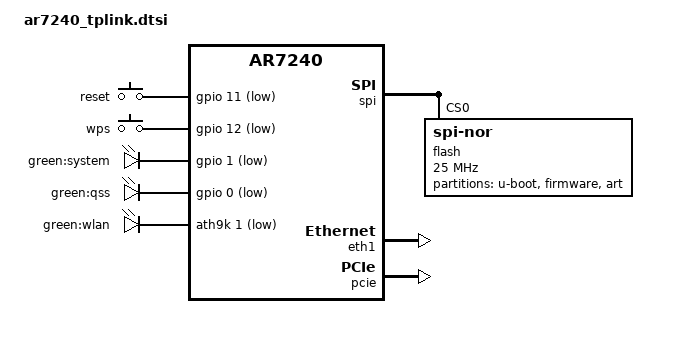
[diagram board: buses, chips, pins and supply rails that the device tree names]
// SPDX-License-Identifier: GPL-2.0-or-later OR MIT

#include "ar7240.dtsi"

#include <dt-bindings/gpio/gpio.h>
#include <dt-bindings/input/input.h>

/ {
	aliases {
		led-boot = &led_system;
		led-failsafe = &led_system;
		led-running = &led_system;
		led-upgrade = &led_system;
		label-mac-device = &ath9k;
	};

	keys {
		compatible = "gpio-keys";

		reset {
			label = "reset";
			linux,code = <KEY_RESTART>;
			gpios = <&gpio 11 GPIO_ACTIVE_LOW>;
			debounce-interval = <60>;
		};

		wps {
			label = "wps";
			linux,code = <KEY_WPS_BUTTON>;
			gpios = <&gpio 12 GPIO_ACTIVE_LOW>;
			debounce-interval = <60>;
		};
	};

	leds: leds {
		compatible = "gpio-leds";

		pinctrl-names = "default";
		pinctrl-0 = <&pinmux_switch_led_pins>;

		led_system: system {
			label = "green:system";
			gpios = <&gpio 1 GPIO_ACTIVE_LOW>;
		};

		qss {
			label = "green:qss";
			gpios = <&gpio 0 GPIO_ACTIVE_LOW>;
		};
	};

	ath9k-leds {
		compatible = "gpio-leds";

		wlan {
			label = "green:wlan";
			gpios = <&ath9k 1 GPIO_ACTIVE_LOW>;
			linux,default-trigger = "phy0tpt";
		};
	};
};

&spi {
	status = "okay";

	flash@0 {
		compatible = "jedec,spi-nor";
		reg = <0>;
		spi-max-frequency = <25000000>;

		partitions {
			compatible = "fixed-partitions";
			#address-cells = <1>;
			#size-cells = <1>;

			uboot: partition@0 {
				reg = <0x0 0x20000>;
				label = "u-boot";
				read-only;
			};

			partition@20000 {
				compatible = "tplink,firmware";
				reg = <0x20000 0x3d0000>;
				label = "firmware";
			};

			art: partition@3f0000 {
				reg = <0x3f0000 0x10000>;
				label = "art";
				read-only;
			};
		};
	};
};

&eth1 {
	status = "okay";
};

&pcie {
	status = "okay";

	ath9k: wifi@0,0 {
		reg = <0x0000 0 0 0 0>;
		qca,no-eeprom;
		mtd-mac-address = <&uboot 0x1fc00>;
		#gpio-cells = <2>;
		gpio-controller;
	};
};

&pinmux {
	pinmux_switch_led_pins: switch_led_pins {
		pinctrl-single,bits = <0x0 0x0 0xf8>;
	};
};
